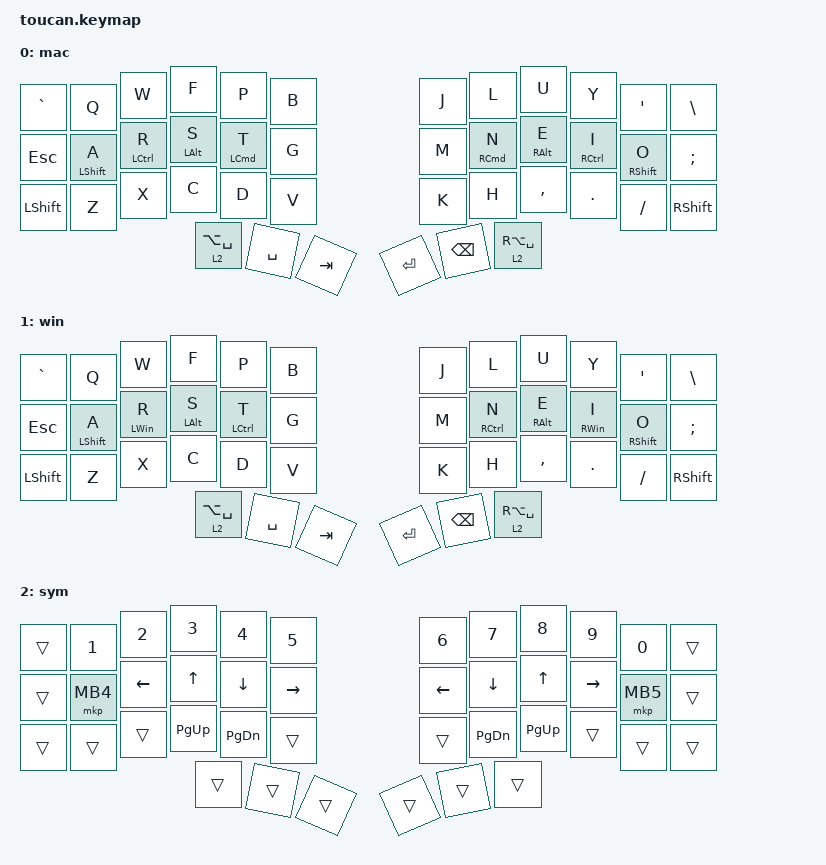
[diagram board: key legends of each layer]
#include <behaviors.dtsi>
#include <dt-bindings/zmk/bt.h>
#include <dt-bindings/zmk/keys.h>
#include <dt-bindings/zmk/pointing.h>

&mt {
    quick-tap-ms = <175>;
    tapping-term-ms = <280>;
    require-prior-idle-ms = <150>;
    flavor = "balanced";
    hold-trigger-on-release;
};

&lt {
    quick-tap-ms = <175>;
    require-prior-idle-ms = <150>;
    tapping-term-ms = <200>;
    flavor = "balanced";
};

/ {
    conditional_layers { compatible = "zmk,conditional-layers"; };

    macros {
        mac: mac {
            compatible = "zmk,behavior-macro";
            #binding-cells = <0>;
            bindings = <&bt BT_SEL 0 &to 0>;
            label = "MAC";
        };

        win: win {
            compatible = "zmk,behavior-macro";
            #binding-cells = <0>;
            bindings = <&bt BT_SEL 1 &to 1>;
            label = "WIN";
        };
    };

    combos {
        compatible = "zmk,combos";

        mac {
            bindings = <&mac>;
            key-positions = <36 37 38>;
            timeout-ms = <100>;
            require-prior-idle-ms = <150>;
        };

        win {
            bindings = <&win>;
            key-positions = <39 40 41>;
            timeout-ms = <100>;
            require-prior-idle-ms = <150>;
        };

        caps {
            bindings = <&kp CAPS>;
            key-positions = <13 22>;
            timeout-ms = <50>;
            require-prior-idle-ms = <150>;
        };

        layer {
            bindings = <&tog 2>;
            key-positions = <36 41>;
            timeout-ms = <50>;
            require-prior-idle-ms = <150>;
        };

        lbrc {
            bindings = <&kp LBRC>;
            key-positions = <4 5>;
            timeout-ms = <50>;
            require-prior-idle-ms = <150>;
        };

        rbrc {
            bindings = <&kp RBRC>;
            key-positions = <6 7>;
            timeout-ms = <50>;
            require-prior-idle-ms = <150>;
        };

        lpar {
            bindings = <&kp LPAR>;
            key-positions = <16 17>;
            timeout-ms = <50>;
            require-prior-idle-ms = <150>;
        };

        rpar {
            bindings = <&kp RPAR>;
            key-positions = <18 19>;
            timeout-ms = <50>;
            require-prior-idle-ms = <150>;
        };

        lbkt {
            bindings = <&kp LBKT>;
            key-positions = <28 29>;
            timeout-ms = <50>;
            require-prior-idle-ms = <150>;
        };

        rbkt {
            bindings = <&kp RBKT>;
            key-positions = <30 31>;
            timeout-ms = <50>;
            require-prior-idle-ms = <150>;
        };

        excl {
            bindings = <&kp EXCL>;
            key-positions = <2 3>;
            timeout-ms = <50>;
            require-prior-idle-ms = <150>;
        };

        at {
            bindings = <&kp AT>;
            key-positions = <26 27>;
            timeout-ms = <50>;
            require-prior-idle-ms = <150>;
        };

        caret {
            bindings = <&kp CARET>;
            key-positions = <14 15>;
            timeout-ms = <50>;
            require-prior-idle-ms = <150>;
        };

        dllr {
            bindings = <&kp DLLR>;
            key-positions = <15 16>;
            timeout-ms = <50>;
            require-prior-idle-ms = <150>;
        };

        amps {
            bindings = <&kp AMPS>;
            key-positions = <3 4>;
            timeout-ms = <50>;
            require-prior-idle-ms = <150>;
        };

        hash {
            bindings = <&kp HASH>;
            key-positions = <27 28>;
            timeout-ms = <50>;
            require-prior-idle-ms = <150>;
        };

        times {
            bindings = <&kp STAR>;
            key-positions = <8 7>;
            timeout-ms = <50>;
            require-prior-idle-ms = <150>;
        };

        mod {
            bindings = <&kp PRCNT>;
            key-positions = <9 8>;
            timeout-ms = <50>;
            require-prior-idle-ms = <150>;
        };

        plus {
            bindings = <&kp PLUS>;
            key-positions = <31 32>;
            timeout-ms = <50>;
            require-prior-idle-ms = <150>;
        };

        equal {
            bindings = <&kp EQUAL>;
            key-positions = <32 33>;
            timeout-ms = <50>;
            require-prior-idle-ms = <150>;
        };

        minus {
            bindings = <&kp MINUS>;
            key-positions = <19 20>;
            timeout-ms = <50>;
            require-prior-idle-ms = <150>;
        };

        under {
            bindings = <&kp UNDER>;
            key-positions = <20 21>;
            timeout-ms = <50>;
            require-prior-idle-ms = <150>;
        };

        clear {
            bindings = <&bt BT_CLR>;
            key-positions = <36 37 38 39 40 41>;
            timeout-ms = <100>;
            require-prior-idle-ms = <150>;
        };

        colon {
            bindings = <&kp COLON>;
            key-positions = <21 22>;
            timeout-ms = <50>;
            require-prior-idle-ms = <150>;
        };

        semi {
            bindings = <&kp SEMI>;
            key-positions = <9 10>;
            timeout-ms = <50>;
            require-prior-idle-ms = <150>;
        };

        bslh {
            bindings = <&kp BSLH>;
            key-positions = <34 33>;
            timeout-ms = <50>;
            require-prior-idle-ms = <150>;
        };

        esc {
            bindings = <&kp ESC>;
            key-positions = <13 14>;
            timeout-ms = <50>;
            require-prior-idle-ms = <150>;
        };

        grave {
            bindings = <&kp GRAVE>;
            key-positions = <1 2>;
            timeout-ms = <50>;
            require-prior-idle-ms = <150>;
        };

        pipe {
            bindings = <&kp PIPE>;
            key-positions = <25 26>;
            timeout-ms = <50>;
            require-prior-idle-ms = <150>;
        };
    };

    keymap {
        compatible = "zmk,keymap";

        mac {
            bindings = <
&kp GRAVE  &kp Q        &kp W        &kp F            &kp P       &kp B    &kp J      &kp L       &kp U            &kp Y        &kp SQT      &kp BSLH
&kp ESC    &mt LSHFT A  &mt LCTRL R  &mt LALT S       &mt LCMD T  &kp G    &kp M      &mt RCMD N  &mt RALT E       &mt RCTRL I  &mt RSHFT O  &kp SEMI
&kp LSHFT  &kp Z        &kp X        &kp C            &kp D       &kp V    &kp K      &kp H       &kp COMMA        &kp DOT      &kp FSLH     &kp RSHFT
                                     &lt 2 LA(SPACE)  &kp SPACE   &kp TAB  &kp ENTER  &kp BSPC    &lt 2 RA(SPACE)
            >;
        };

        win {
            bindings = <
&kp GRAVE  &kp Q        &kp W       &kp F            &kp P        &kp B    &kp J      &kp L        &kp U            &kp Y       &kp SQT      &kp BSLH
&kp ESC    &mt LSHFT A  &mt LWIN R  &mt LALT S       &mt LCTRL T  &kp G    &kp M      &mt RCTRL N  &mt RALT E       &mt RWIN I  &mt RSHFT O  &kp SEMI
&kp LSHFT  &kp Z        &kp X       &kp C            &kp D        &kp V    &kp K      &kp H        &kp COMMA        &kp DOT     &kp FSLH     &kp RSHFT
                                    &lt 2 LA(SPACE)  &kp SPACE    &kp TAB  &kp ENTER  &kp BSPC     &lt 2 RA(SPACE)
            >;
        };

        sym {
            bindings = <
&trans  &kp N1    &kp N2    &kp N3     &kp N4     &kp N5     &kp N6    &kp N7     &kp N8     &kp N9     &kp N0    &trans
&trans  &mkp MB4  &kp LEFT  &kp UP     &kp DOWN   &kp RIGHT  &kp LEFT  &kp DOWN   &kp UP     &kp RIGHT  &mkp MB5  &trans
&trans  &trans    &trans    &kp PG_UP  &kp PG_DN  &trans     &trans    &kp PG_DN  &kp PG_UP  &trans     &trans    &trans
                            &trans     &trans     &trans     &trans    &trans     &trans
            >;
        };
    };
};
